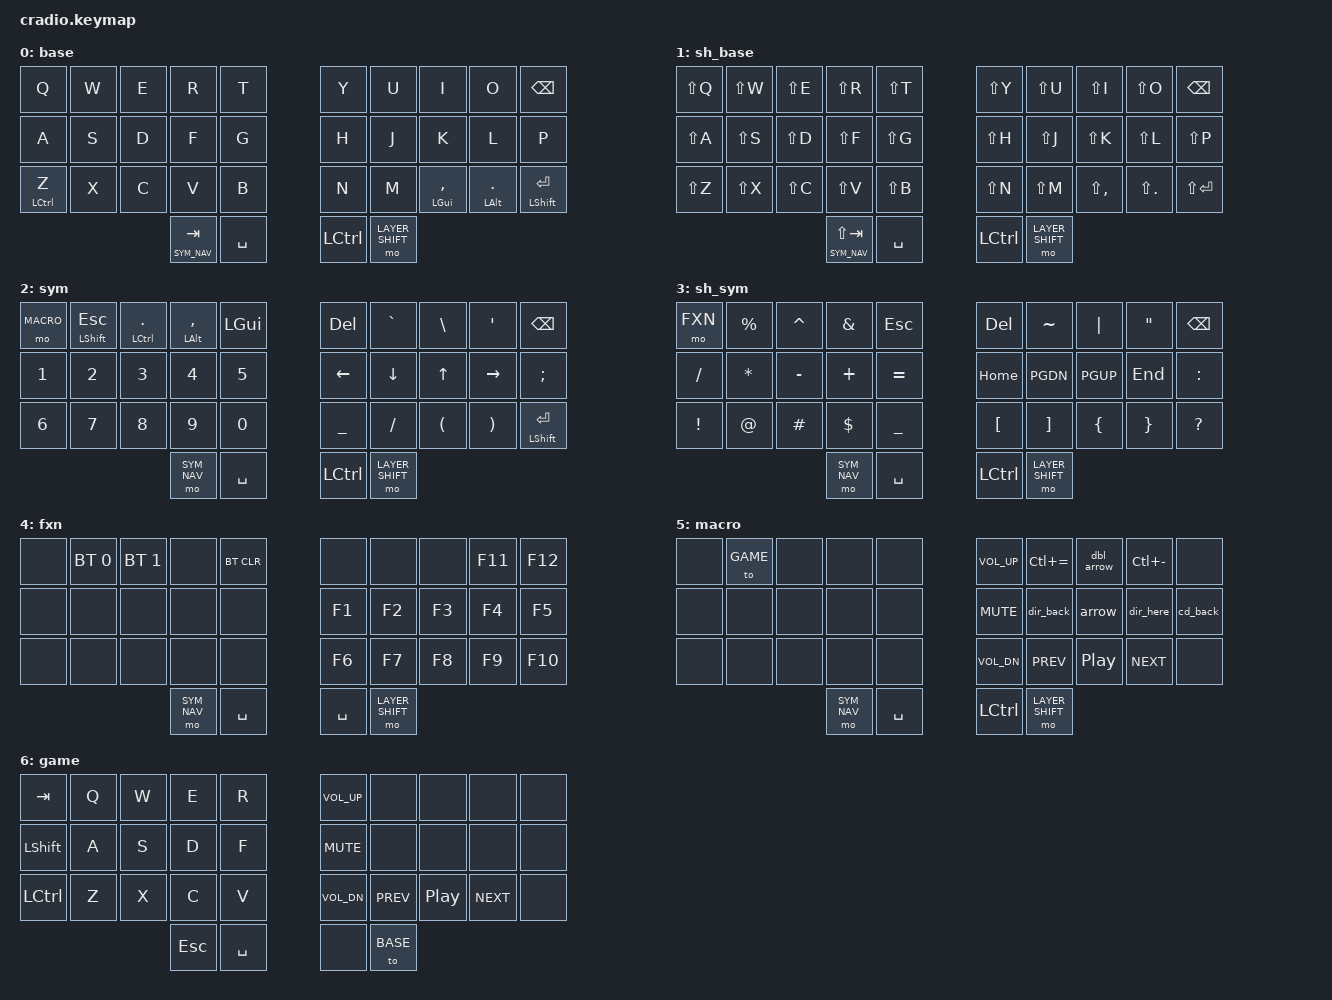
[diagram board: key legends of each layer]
// Copyright (c) 2022 The ZMK Contributors
// SPDX-License-Identifier: MIT

#include <behaviors.dtsi>
#include <dt-bindings/zmk/keys.h>
#include <dt-bindings/zmk/bt.h>
#include <dt-bindings/zmk/outputs.h>


#define BASE 0
#define LAYER_SHIFT 1
#define SYM_NAV 2
#define SHIFT_SYM_NAV 3
#define FXN 4
#define MACRO 5
#define GAME 6

// #define SYM__BSPC lt_h SYM_NAV BSPC
&caps_word {
    continue-list = <UNDERSCORE MINUS DOT>;
};
/ {
    behaviors {
        ht: hold_tap {
            label = "hold_tap";
            compatible = "zmk,behavior-hold-tap";
            #binding-cells = <2>;
            flavor = "balanced";
            tapping-term-ms = <160>;
            quick-tap-ms = <160>;
            global-quick-tap;
            bindings = <&kp>, <&kp>;
        };
        // lt: layer_tap {
        //   tapping-tem-ms = <160>;
        // };

        lt_h: layer_tap_h {
          label = "layer_tap_h";
          compatible = "zmk,behavior-hold-tap";
          #binding-cells = <2>;
          flavor = "hold-preferred";
          tapping-term-ms = <160>;
          bindings = <&mo>, <&kp>; 
        };
    };
    conditional_layers {
        compatible = "zmk,conditional-layers";
        tri_layer {
            if-layers = <SYM_NAV LAYER_SHIFT>;
            then-layer = <SHIFT_SYM_NAV>;
        };
    };
    macros {
      arrow: arrow{
        label = "->";
        compatible = "zmk,behavior-macro";
        #binding-cells = <0>;
        bindings = <&macro_tap &kp MINUS &kp LS(DOT)>;
      };
      dbl_arrow: dbl_arrow{
        label = "=>";
        compatible = "zmk,behavior-macro";
        #binding-cells = <0>;
        bindings = <&macro_tap &kp EQUAL &kp LS(DOT)>;
      };
      dir_back: dir_back{
        label="../";
        #binding-cells = <0>;
        compatible = "zmk,behavior-macro";
        bindings = <&macro_tap &kp DOT &kp DOT &kp FSLH>;
      };
      dir_here: dir_here{
        label="../";
        #binding-cells = <0>;
        compatible = "zmk,behavior-macro";
        bindings = <&macro_tap &kp DOT &kp FSLH>;
      };
      cd_back: cd_back{
        label="cd ../";
        #binding-cells = <0>;
        compatible = "zmk,behavior-macro";
        bindings = <&macro_tap &kp C &kp D &kp SPACE &kp DOT &kp DOT &kp FSLH &kp RET>;
      };
    };


    keymap {
        compatible = "zmk,keymap";
        base {
            bindings = <
        //╭─────────────┬─────────────┬─────────────┬─────────────┬─────────────╮   ╭─────────────┬─────────────┬─────────────┬─────────────┬─────────────╮
        //│      q      │      w      │      e      │      r      │      t      │   │      y      │      u      │      i      │      o      │  backspace  │
        //│             │             │             │             │             │   │             │             │             │             │             │
          &kp Q         &kp W         &kp E         &kp R         &kp T             &kp Y         &kp U         &kp I         &kp O         &kp BSPC
        //├─────────────┼─────────────┼─────────────┼─────────────┼─────────────┤   ├─────────────┼─────────────┼─────────────┼─────────────┼─────────────┤
        //│      a      │      s      │      d      │      f      │      g      │   │      h      │      j      │     k       │      l      │      p      │
        //│             │             │             │             │             │   │             │             │             │             │             │
          &kp A         &kp S         &kp D         &kp F         &kp G             &kp H         &kp J         &kp K         &kp L         &kp P
        //├─────────────┼─────────────┼─────────────┼─────────────┼─────────────┤   ├─────────────┼─────────────┼─────────────┼─────────────┼─────────────┤
        //│      z      │      x      │      c      │      v      │      b      │   │      n      │      m      │      ,      │      .      │    enter    │
        //│   control   │             │             │             │             │   │             │             │     gui     │     alt     │    shift    │
          &ht LCTRL Z   &kp X         &kp C         &kp V         &kp B             &kp N         &kp M        &ht LGUI COMMA &ht LALT DOT  &ht LSHFT RET
        //╰─────────────┴─────────────┴─────────────┼─────────────┼─────────────┤   ├─────────────┼─────────────┼─────────────┴─────────────┴─────────────╯
        //                                          │   layer     │   space     │   │  control    │   shift*    │
        //                                          │             │             │   │             │             │
                                                &lt_h SYM_NAV TAB &kp SPACE         &kp LCTRL     &mo LAYER_SHIFT        
        //                                          ╰─────────────┴─────────────╯   ╰─────────────┴─────────────╯
            >;
        };

        sh_base {
            bindings = <
        //╭─────────────┬─────────────┬─────────────┬─────────────┬─────────────╮   ╭─────────────┬─────────────┬─────────────┬─────────────┬─────────────╮
        //│      Q      │      W      │      E      │      R      │      T      │   │      T      │      U      │      I      │      O      │  backspace  │
        //│             │             │             │             │             │   │             │             │             │             │             │
          &kp LS(Q)     &kp LS(W)     &kp LS(E)     &kp LS(R)     &kp LS(T)         &kp LS(Y)     &kp LS(U)     &kp LS(I)     &kp LS(O)     &kp BSPC
        //├─────────────┼─────────────┼─────────────┼─────────────┼─────────────┤   ├─────────────┼─────────────┼─────────────┼─────────────┼─────────────┤
        //│      A      │      S      │      D      │      F      │      G      │   │      H      │      J      │      K      │      L      │      p      │
        //│             │             │             │             │             │   │             │             │             │             │             │
          &kp LS(A)     &kp LS(S)     &kp LS(D)     &kp LS(F)     &kp LS(G)         &kp LS(H)     &kp LS(J)     &kp LS(K)     &kp LS(L)     &kp LS(P)
        //├─────────────┼─────────────┼─────────────┼─────────────┼─────────────┤   ├─────────────┼─────────────┼─────────────┼─────────────┼─────────────┤
        //│      Z      │      X      │      C      │      V      │      B      │   │      N      │      M      │      <      │      >      │    ENTER    │
        //│   control   │             │             │             │             │   │             │             │             │             │             │
          &kp LS(Z)     &kp LS(X)     &kp LS(C)     &kp LS(V)     &kp LS(B)         &kp LS(N)     &kp LS(M)     &kp LS(COMMA) &kp LS(DOT)   &kp LS(RET) 
        //╰─────────────┴─────────────┴─────────────┼─────────────┼─────────────┤   ├─────────────┼─────────────┼─────────────┴─────────────┴─────────────╯
        //                                          │   layer     │   space     │   │  control    │   shift*    │
        //                                          │             │             │   │             │             │
                                            &lt_h SYM_NAV LS(TAB) &kp SPACE         &kp LCTRL     &mo LAYER_SHIFT        
        //                                          ╰─────────────┴─────────────╯   ╰─────────────┴─────────────╯
            >;
        };

        sym {
            bindings = <
        //╭─────────────┬─────────────┬─────────────┬─────────────┬─────────────╮   ╭─────────────┬─────────────┬─────────────┬─────────────┬─────────────╮
        //│    macro    │     esc     │      .      │      ,      │     gui     │   │   delete    │      `      │      up     │      '      │  backspace  │
        //│             │    shift    │    control  │     alt     │             │   │             │             │             │             │             │
          &mo MACRO     &ht LSHFT ESC &ht LCTRL DOT &ht LALT COMMA &kp LGUI         &kp DEL       &kp GRAVE     &kp BSLH      &kp SQT       &kp BSPC
        //├─────────────┼─────────────┼─────────────┼─────────────┼─────────────┤   ├─────────────┼─────────────┼─────────────┼─────────────┼─────────────┤
        //│      1      │      2      │      3      │      4      │      5      │   │      \      │    left     │     down    │    right    │      ;      │
        //│             │             │             │             │             │   │             │             │             │             │             │
          &kp N1         &kp N2       &kp N3        &kp N4        &kp N5            &kp LEFT      &kp DOWN      &kp UP      &kp RIGHT     &kp SEMI
        //├─────────────┼─────────────┼─────────────┼─────────────┼─────────────┤   ├─────────────┼─────────────┼─────────────┼─────────────┼─────────────┤
        //│      6      │      7      │      8      │      9      │      0      │   │      _      │      /      │      (      │      )      │    enter    │
        //│             │             │             │             │             │   │             │             │             │             │    shift    │
          &kp N6        &kp N7        &kp N8        &kp N9        &kp N0            &kp UNDER     &kp FSLH      &kp LPAR      &kp RPAR      &ht LSHFT RET
        //╰─────────────┴─────────────┴─────────────┼─────────────┼─────────────┤   ├─────────────┼─────────────┼─────────────┴─────────────┴─────────────╯
        //                                          │   layer     │   space     │   │  control    │   shift*    │
        //                                          │             │             │   │             │             │
                                                    &mo SYM_NAV   &kp SPACE         &kp LCTRL     &mo LAYER_SHIFT        
        //                                          ╰─────────────┴─────────────╯   ╰─────────────┴─────────────╯
            >;
        };

        sh_sym {
            bindings = <
        //╭─────────────┬─────────────┬─────────────┬─────────────┬─────────────╮   ╭─────────────┬─────────────┬─────────────┬─────────────┬─────────────╮
        //│             │      %      │      ^      │      &      │     esc     │   │   delete    │      ~      │   page up   │      "      │  backspace  │
        //│             │             │             │             │             │   │             │             │             │             │             │
          &mo FXN         &kp  PERCENT   &kp CARET     &kp AMPS      &kp ESC           &kp DEL      &kp TILDE   &kp PIPE       &kp DQT      &kp BSPC
        //├─────────────┼─────────────┼─────────────┼─────────────┼─────────────┤   ├─────────────┼─────────────┼─────────────┼─────────────┼─────────────┤
        //│      /      │      *      │      -      │      +      │      =      │   │             │             │  page down  │    end      │      :      │
        //│             │             │             │             │             │   │             │             │             │             │             │
          &kp FSLH      &kp STAR      &kp MINUS      &kp PLUS     &kp EQUAL          &kp HOME     &kp PGDN      &kp PGUP      &kp END       &kp COLON     
        //├─────────────┼─────────────┼─────────────┼─────────────┼─────────────┤   ├─────────────┼─────────────┼─────────────┼─────────────┼─────────────┤
        //│      !      │      @      │      #      │      $      │      _      │   │      [      │      ]      │      {      │      }      │       ?     │
        //│             │             │             │             │             │   │             │             │             │             │             │
          &kp EXCL      &kp AT        &kp HASH      &kp DLLR      &kp UNDER         &kp LBKT      &kp RBKT      &kp LBRC      &kp RBRC      &kp QMARK
        //╰─────────────┴─────────────┴─────────────┼─────────────┼─────────────┤   ├─────────────┼─────────────┼─────────────┴─────────────┴─────────────╯
        //                                          │   layer     │   space     │   │  control    │   shift*    │
        //                                          │             │             │   │             │             │
                                                    &mo SYM_NAV   &kp SPACE         &kp LCTRL     &mo LAYER_SHIFT        
        //                                          ╰─────────────┴─────────────╯   ╰─────────────┴─────────────╯
            >;

            
        };

        fxn {
            bindings = <
        //╭─────────────┬─────────────┬─────────────┬─────────────┬─────────────╮   ╭─────────────┬─────────────┬─────────────┬─────────────┬─────────────╮
        //│  Clear BT   │ BT Profile 0│ BT Profile 1│     F11     │     F12     │   │             │             │             │             │             │
        //│             │             │             │             │             │   │             │             │             │             │             │
          &none         &bt BT_SEL 0  &bt BT_SEL 1  &none         &bt BT_CLR        &none         &none         &none         &kp F11       &kp F12
        //├─────────────┼─────────────┼─────────────┼─────────────┼─────────────┤   ├─────────────┼─────────────┼─────────────┼─────────────┼─────────────┤
        //│      F1     │      F2     │      F3     │      F4     │      F5     │   │             │             │             │             │             │
        //│             │             │             │             │             │   │             │             │             │             │             │
          &none         &none         &none         &none         &none             &kp F1         &kp F2       &kp F3        &kp F4        &kp F5
        //├─────────────┼─────────────┼─────────────┼─────────────┼─────────────┤   ├─────────────┼─────────────┼─────────────┼─────────────┼─────────────┤
        //│      F6     │      F7     │      F8     │      F9     |      F0     │   │             │             │             │             │             │
        //│             │             │             │             │             │   │             │             │             │             │             │
          &none         &none         &none         &none         &none             &kp F6         &kp F7       &kp F8        &kp F9        &kp F10
        //╰─────────────┴─────────────┴─────────────┼─────────────┼─────────────┤   ├─────────────┼─────────────┼─────────────┴─────────────┴─────────────╯
        //                                          │   layer     │   space     │   │  control    │   shift*    │
        //                                          │             │             │   │             │             │
                                                    &mo SYM_NAV   &kp SPACE         &kp SPACE     &mo LAYER_SHIFT        
        //                                          ╰─────────────┴─────────────╯   ╰─────────────┴─────────────╯
            >;
        };
        
        macro {
            bindings = <
        //╭─────────────┬─────────────┬─────────────┬─────────────┬─────────────╮   ╭─────────────┬─────────────┬─────────────┬─────────────┬─────────────╮
        //│             │    game     │             │             │             │   │   vol up    │   zoom in   │     =>      │   zoom out  │             │
        //│             │             │             │             │             │   │             │             │             │             │             │
          &none         &to GAME      &none         &none         &none             &kp C_VOL_UP  &kp LC(EQUAL) &dbl_arrow    &kp LC(MINUS) &none
        //├─────────────┼─────────────┼─────────────┼─────────────┼─────────────┤   ├─────────────┼─────────────┼─────────────┼─────────────┼─────────────┤
        //│             │             │             │             │             │   │    mute     │     ../     │     ->      │     ./      │  cd ../<cr> │
        //│             │             │             │             │             │   │             │             │             │             │             │
          &none          &none        &none         &none         &none             &kp C_MUTE    &dir_back     &arrow        &dir_here     &cd_back
        //├─────────────┼─────────────┼─────────────┼─────────────┼─────────────┤   ├─────────────┼─────────────┼─────────────┼─────────────┼─────────────┤
        //│             │             │             │             |             │   │   vol dn    │     |<|     │   |> / ||   │     |>|     │             │
        //│             │             │             │             │             │   │             │             │             │             │             │
          &none         &none         &none         &none         &none             &kp C_VOL_DN  &kp C_PREV    &kp C_PP      &kp C_NEXT    &none
        //╰─────────────┴─────────────┴─────────────┼─────────────┼─────────────┤   ├─────────────┼─────────────┼─────────────┴─────────────┴─────────────╯
        //                                          │   layer     │   space     │   │  control    │   shift*    │
        //                                          │             │             │   │             │             │
                                                    &mo SYM_NAV   &kp SPACE         &kp LCTRL     &mo LAYER_SHIFT
        //                                          ╰─────────────┴─────────────╯   ╰─────────────┴─────────────╯
            >;
        };


        game {
            bindings = <
        //╭─────────────┬─────────────┬─────────────┬─────────────┬─────────────╮   ╭─────────────┬─────────────┬─────────────┬─────────────┬─────────────╮
        //│    tab      │      q      │      w      │      e      │      r      │   │   vol up    │             │             │             │             │
        //│             │             │             │             │             │   │             │             │             │             │             │
          &kp TAB       &kp Q         &kp W         &kp E         &kp R             &kp C_VOL_UP  &none         &none         &none         &none
        //├─────────────┼─────────────┼─────────────┼─────────────┼─────────────┤   ├─────────────┼─────────────┼─────────────┼─────────────┼─────────────┤
        //│    shift    │      a      │      s      │      d      │      f      │   │    mute     │             │             │             │             │
        //│             │             │             │             │             │   │             │             │             │             │             │
          &kp LSHFT     &kp A         &kp S         &kp D         &kp F             &kp C_MUTE    &none         &none         &none         &none
        //├─────────────┼─────────────┼─────────────┼─────────────┼─────────────┤   ├─────────────┼─────────────┼─────────────┼─────────────┼─────────────┤
        //│             │      z      │      x      │      c      |      v      │   │   vol dn    │     |<|     │   |> / ||   │     |>|     │             │
        //│             │             │             │             │             │   │             │             │             │             │             │
          &kp LCTRL     &kp Z         &kp X         &kp C         &kp V             &kp C_VOL_DN  &kp C_PREV    &kp C_PP      &kp C_NEXT    &none
        //╰─────────────┴─────────────┴─────────────┼─────────────┼─────────────┤   ├─────────────┼─────────────┼─────────────┴─────────────┴─────────────╯
        //                                          │   escape    │   space     │   │             │   to base   │
        //                                          │             │             │   │             │             │
                                                    &kp ESC       &kp SPACE             &none         &to BASE       
        //                                          ╰─────────────┴─────────────╯   ╰─────────────┴─────────────╯
            >;
        };

    };
};
